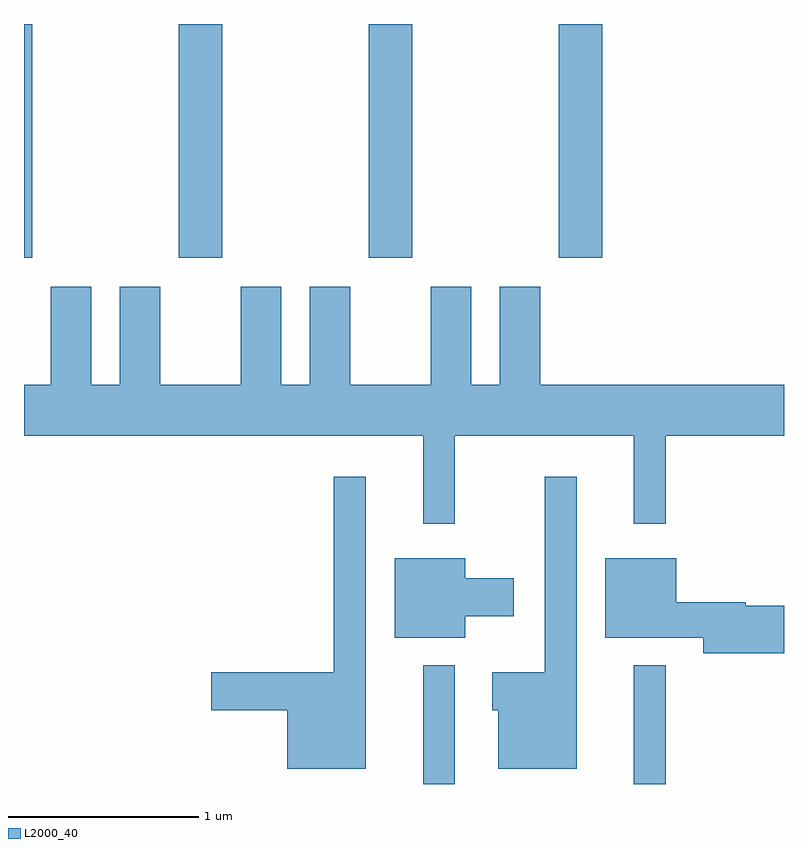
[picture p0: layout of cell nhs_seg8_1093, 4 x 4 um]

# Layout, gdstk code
import gdstk
lib = gdstk.Library(unit=1e-6, precision=1e-09)
def R(c, l, rs):  # rectangles x0, y0, x1, y1
    for r in rs: c.add(gdstk.rectangle(r[:2], r[2:], *l))
def A(c, l, x, y, w, h, nx, ny, dx, dy):  # array of equal rectangles
    R(c, l, [(x+i*dx, y+j*dy, x+i*dx+w, y+j*dy+h) for i in range(nx) for j in range(ny)])
def P(c, l, *ps):  # polygons
    for p in ps: c.add(gdstk.Polygon(p, *l))
L2000_40 = (2000, 40)

nhs_seg8_1093 = lib.new_cell('nhs_seg8_1093')
A(nhs_seg8_1093, L2000_40, 218.426, 1855.111, 0.228, 1.231, 3, 1, 1, 0)
R(nhs_seg8_1093, L2000_40, [(219.711,1852.342,219.879,1852.968), (220.821,1852.342,220.989,1852.968), (217.611,1855.111,217.654,1856.342)])
P(nhs_seg8_1093, L2000_40, [(219.879,1854.176),(220.821,1854.176),(220.821,1853.713),(220.989,1853.713),(220.989,1854.176),(221.611,1854.176),(221.611,1854.444),(220.329,1854.444),(220.329,1854.959),(220.116,1854.959),(220.116,1854.444),(219.964,1854.444),(219.964,1854.959),(219.751,1854.959),(219.751,1854.444),(219.329,1854.444),(219.329,1854.959),(219.116,1854.959),(219.116,1854.444),(218.964,1854.444),(218.964,1854.959),(218.751,1854.959),(218.751,1854.444),(218.329,1854.444),(218.329,1854.959),(218.116,1854.959),(218.116,1854.444),(217.964,1854.444),(217.964,1854.959),(217.751,1854.959),(217.751,1854.444),(217.611,1854.444),(217.611,1854.176),(219.711,1854.176),(219.711,1853.713),(219.879,1853.713)],
  [(220.519,1853.958),(220.351,1853.958),(220.351,1852.929),(220.076,1852.929),(220.076,1852.731),(220.106,1852.731),(220.106,1852.421),(220.519,1852.421)],
  [(219.409,1853.958),(219.241,1853.958),(219.241,1852.929),(218.596,1852.929),(218.596,1852.731),(218.996,1852.731),(218.996,1852.421),(219.409,1852.421)],
  [(219.934,1853.226),(220.189,1853.226),(220.189,1853.424),(219.934,1853.424),(219.934,1853.529),(219.561,1853.529),(219.561,1853.111),(219.934,1853.111)],
  [(221.611,1853.279),(221.409,1853.279),(221.409,1853.299),(221.044,1853.299),(221.044,1853.529),(220.671,1853.529),(220.671,1853.111),(221.186,1853.111),(221.186,1853.031),(221.611,1853.031)])

lib.write_gds('nhs_seg8_1093.gds')
